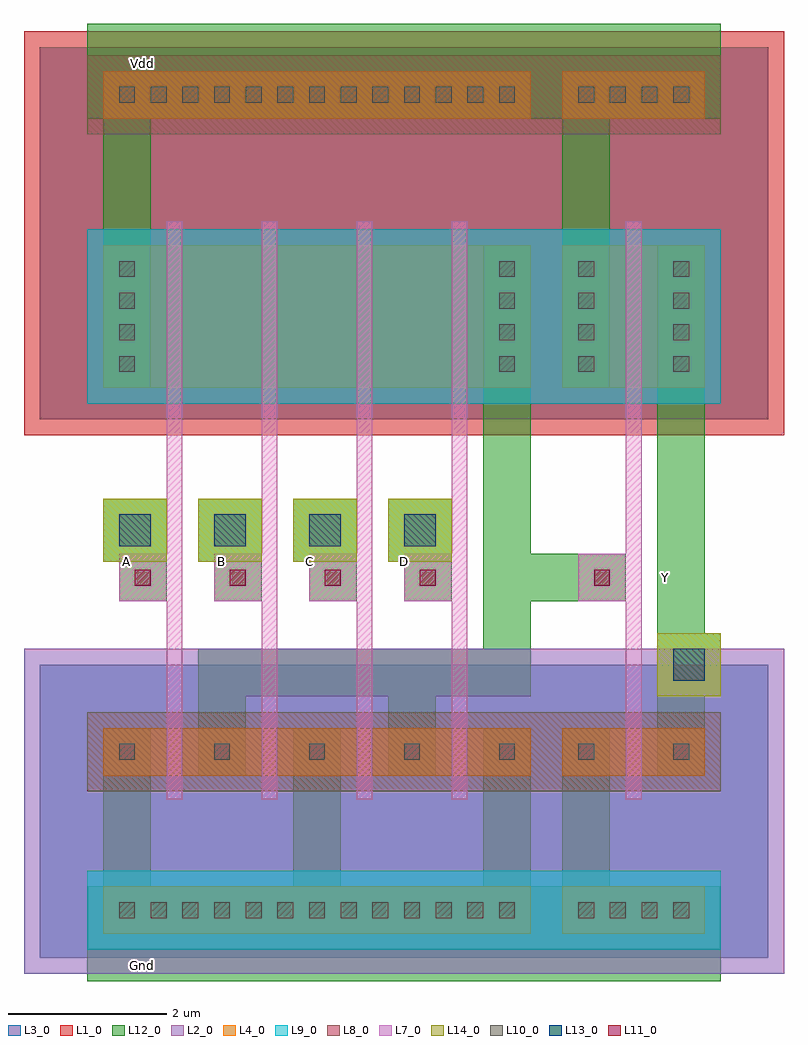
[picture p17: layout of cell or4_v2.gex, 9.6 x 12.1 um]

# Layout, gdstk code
import gdstk
lib = gdstk.Library(unit=1e-6, precision=1e-09)
def R(c, l, rs):  # rectangles x0, y0, x1, y1
    for r in rs: c.add(gdstk.rectangle(r[:2], r[2:], *l))
def A(c, l, x, y, w, h, nx, ny, dx, dy):  # array of equal rectangles
    R(c, l, [(x+i*dx, y+j*dy, x+i*dx+w, y+j*dy+h) for i in range(nx) for j in range(ny)])
L1_0 = (1, 0)
L2_0 = (2, 0)
L3_0 = (3, 0)
L4_0 = (4, 0)
L7_0 = (7, 0)
L8_0 = (8, 0)
L9_0 = (9, 0)
L10_0 = (10, 0)
L11_0 = (11, 0)
L12_0 = (12, 0)
L13_0 = (13, 0)
L14_0 = (14, 0)

or4_v2_gex = lib.new_cell('or4_v2.gex')
R(or4_v2_gex, L1_0, [(-0.8,6.9,6.1,12), (5.5,6.9,8.8,12)])
R(or4_v2_gex, L2_0, [(-0.8,0.1,6.1,4.2), (5.5,0.1,8.8,4.2)])
R(or4_v2_gex, L3_0, [(-0.6,0.3,5.9,4), (5.7,0.3,8.6,4), (-0.6,7.1,5.9,11.8), (5.7,7.1,8.6,11.8)])
R(or4_v2_gex, L4_0, [(0.2,0.6,5.6,1.2), (6,0.6,7.8,1.2), (0.2,2.6,5.6,3.2), (6,2.6,7.8,3.2), (0.2,7.5,5.6,9.3), (6,7.5,7.8,9.3), (0.2,10.9,5.6,11.5), (6,10.9,7.8,11.5)])
A(or4_v2_gex, L7_0, 1, 2.3, 0.2, 7.3, 4, 1, 1.2, 0)
A(or4_v2_gex, L7_0, 0.4, 4.8, 0.6, 0.6, 4, 1, 1.2, 0)
R(or4_v2_gex, L7_0, [(6.8,2.3,7,9.6), (6.2,4.8,6.8,5.4)])
R(or4_v2_gex, L8_0, [(0,2.4,5.8,3.4), (5.8,2.4,8,3.4), (0,10.7,5.8,11.7), (5.8,10.7,8,11.7)])
R(or4_v2_gex, L9_0, [(0,0.4,5.8,1.4), (5.8,0.4,8,1.4), (0,7.3,5.8,9.5), (5.8,7.3,8,9.5)])
A(or4_v2_gex, L10_0, 0.4, 0.8, 0.2, 0.2, 13, 2, 0.4, 10.3)
A(or4_v2_gex, L10_0, 6.2, 0.8, 0.2, 0.2, 4, 2, 0.4, 10.3)
A(or4_v2_gex, L10_0, 0.4, 2.8, 0.2, 0.2, 5, 1, 1.2, 0)
A(or4_v2_gex, L10_0, 0.4, 7.7, 0.2, 0.2, 1, 4, 0, 0.4)
A(or4_v2_gex, L10_0, 5.2, 7.7, 0.2, 0.2, 1, 4, 0, 0.4)
A(or4_v2_gex, L10_0, 6.2, 7.7, 0.2, 0.2, 1, 4, 0, 0.4)
A(or4_v2_gex, L10_0, 7.4, 7.7, 0.2, 0.2, 1, 4, 0, 0.4)
R(or4_v2_gex, L10_0, [(6.2,2.8,6.4,3), (7.4,2.8,7.6,3)])
A(or4_v2_gex, L11_0, 0.6, 5, 0.2, 0.2, 4, 1, 1.2, 0)
R(or4_v2_gex, L11_0, [(6.4,5,6.6,5.2)])
A(or4_v2_gex, L12_0, 0.2, 1.2, 0.6, 2, 3, 1, 2.4, 0)
A(or4_v2_gex, L12_0, 0.4, 4.8, 0.6, 0.6, 4, 1, 1.2, 0)
A(or4_v2_gex, L12_0, 0.2, 5.3, 0.8, 0.8, 4, 1, 1.2, 0)
R(or4_v2_gex, L12_0, [(0,0,5.8,1.2), (5.8,0,8,1.2), (6,1.2,6.6,3.2), (1.4,2.6,2,3.6), (3.8,2.6,4.4,3.6), (7.2,2.6,7.8,9.3), (1.4,3.6,5,4.2), (5,3.6,5.6,9.3), (7.2,3.6,8,4.4), (5.6,4.8,6.2,5.4), (6.2,4.8,6.8,5.4), (0.2,7.5,0.8,10.9), (6,7.5,6.6,10.9), (0,10.9,5.8,12.1), (5.8,10.9,8,12.1)])
A(or4_v2_gex, L13_0, 0.4, 5.5, 0.4, 0.4, 4, 1, 1.2, 0)
R(or4_v2_gex, L13_0, [(7.4,3.8,7.8,4.2)])
A(or4_v2_gex, L14_0, 0.2, 5.3, 0.8, 0.8, 4, 1, 1.2, 0)
R(or4_v2_gex, L14_0, [(7.2,3.6,8,4.4)])
or4_v2_gex.add(gdstk.Label('Vdd', (0.7,11.6), layer=12, texttype=0))
or4_v2_gex.add(gdstk.Label('D', (4,5.3), layer=12, texttype=0))
or4_v2_gex.add(gdstk.Label('A', (0.5,5.3), layer=12, texttype=0))
or4_v2_gex.add(gdstk.Label('Gnd', (0.7,0.2), layer=12, texttype=0))
or4_v2_gex.add(gdstk.Label('B', (1.7,5.3), layer=12, texttype=0))
or4_v2_gex.add(gdstk.Label('C', (2.8,5.3), layer=12, texttype=0))
or4_v2_gex.add(gdstk.Label('Y', (7.3,5.1), layer=12, texttype=0))

lib.write_gds('or4_v2.gex.gds')
